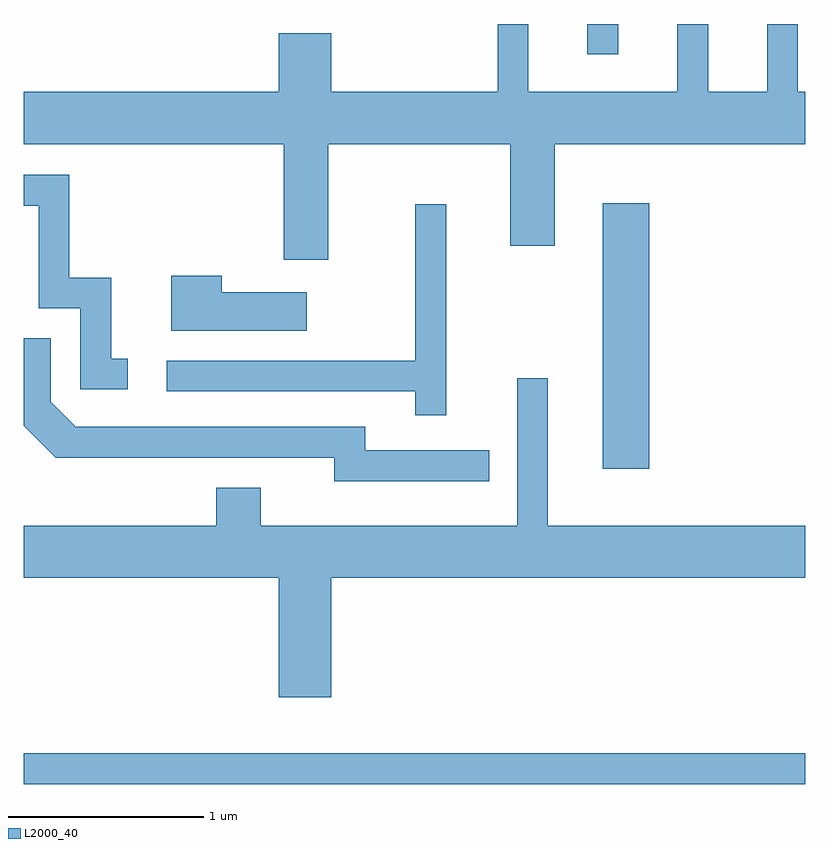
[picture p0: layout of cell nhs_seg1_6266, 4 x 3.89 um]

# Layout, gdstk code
import gdstk
lib = gdstk.Library(unit=1e-6, precision=1e-09)
def R(c, l, rs):  # rectangles x0, y0, x1, y1
    for r in rs: c.add(gdstk.rectangle(r[:2], r[2:], *l))
def P(c, l, *ps):  # polygons
    for p in ps: c.add(gdstk.Polygon(p, *l))
L2000_40 = (2000, 40)

nhs_seg1_6266 = lib.new_cell('nhs_seg1_6266')
R(nhs_seg1_6266, L2000_40, [(373.611,931.821,377.611,931.979), (376.576,933.436,376.814,934.794), (376.496,935.558,376.654,935.712)])
P(nhs_seg1_6266, L2000_40, [(375.169,935.096),(376.101,935.096),(376.101,934.576),(376.329,934.576),(376.329,935.096),(377.611,935.096),(377.611,935.364),(377.574,935.364),(377.574,935.712),(377.416,935.712),(377.416,935.364),(377.114,935.364),(377.114,935.712),(376.956,935.712),(376.956,935.364),(376.194,935.364),(376.194,935.712),(376.036,935.712),(376.036,935.364),(375.184,935.364),(375.184,935.664),(374.916,935.664),(374.916,935.364),(373.611,935.364),(373.611,935.096),(374.941,935.096),(374.941,934.506),(375.169,934.506)],
  [(374.143,933.999),(374.059,933.999),(374.059,934.414),(373.844,934.414),(373.844,934.939),(373.611,934.939),(373.611,934.781),(373.686,934.781),(373.686,934.256),(373.901,934.256),(373.901,933.841),(374.143,933.841)],
  [(375.774,934.788),(375.616,934.788),(375.616,933.989),(374.343,933.989),(374.343,933.831),(375.616,933.831),(375.616,933.708),(375.774,933.708)],
  [(375.059,934.339),(374.624,934.339),(374.624,934.424),(374.366,934.424),(374.366,934.141),(375.059,934.141)],
  [(375.993,933.529),(375.359,933.529),(375.359,933.649),(373.877,933.649),(373.749,933.777),(373.749,934.104),(373.611,934.104),(373.611,933.654),(373.774,933.491),(375.201,933.491),(375.201,933.371),(375.993,933.371)],
  [(375.184,932.876),(377.611,932.876),(377.611,933.144),(376.294,933.144),(376.294,933.898),(376.136,933.898),(376.136,933.144),(374.824,933.144),(374.824,933.339),(374.596,933.339),(374.596,933.144),(373.611,933.144),(373.611,932.876),(374.916,932.876),(374.916,932.266),(375.184,932.266)])

lib.write_gds('nhs_seg1_6266.gds')
